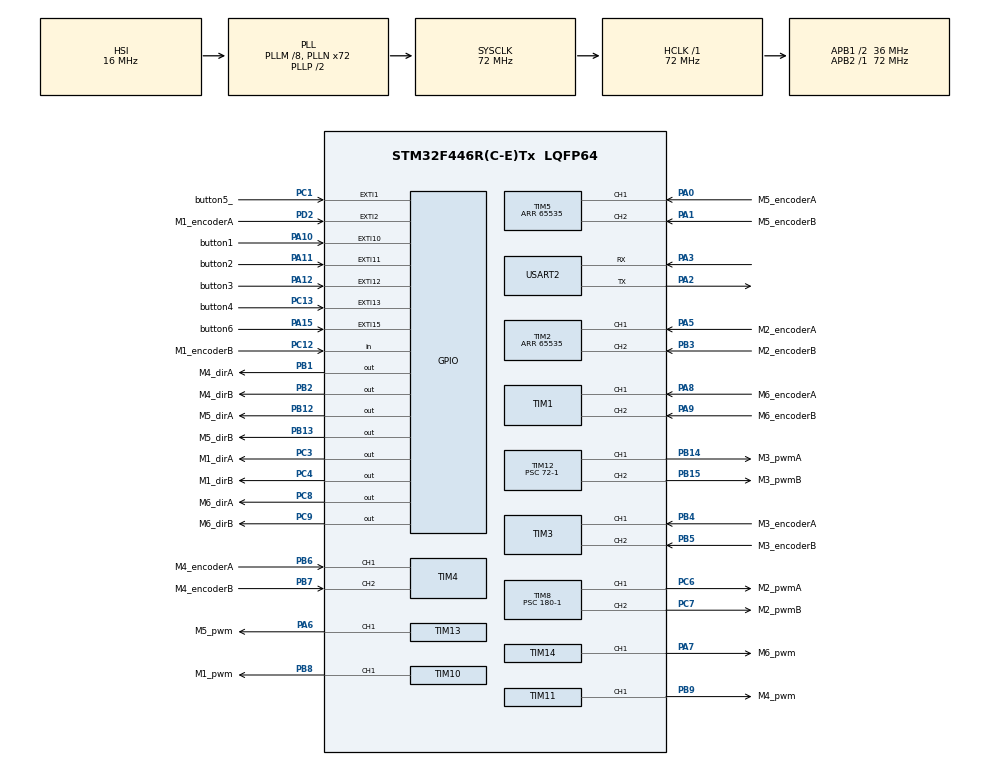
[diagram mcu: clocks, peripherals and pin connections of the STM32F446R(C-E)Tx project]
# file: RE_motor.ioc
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Dma.Request0=USART2_TX
Dma.Request1=USART2_RX
Dma.USART2_RX.1.Direction=DMA_PERIPH_TO_MEMORY
Dma.USART2_RX.1.FIFOMode=DMA_FIFOMODE_DISABLE
Dma.USART2_RX.1.Instance=DMA1_Stream5
Dma.USART2_RX.1.MemDataAlignment=DMA_MDATAALIGN_BYTE
Dma.USART2_RX.1.MemInc=DMA_MINC_ENABLE
Dma.USART2_RX.1.Mode=DMA_NORMAL
Dma.USART2_RX.1.PeriphDataAlignment=DMA_PDATAALIGN_BYTE
Dma.USART2_RX.1.PeriphInc=DMA_PINC_DISABLE
Dma.USART2_RX.1.Priority=DMA_PRIORITY_LOW
Dma.USART2_TX.0.Direction=DMA_MEMORY_TO_PERIPH
Dma.USART2_TX.0.FIFOMode=DMA_FIFOMODE_DISABLE
Dma.USART2_TX.0.Instance=DMA1_Stream6
Dma.USART2_TX.0.MemDataAlignment=DMA_MDATAALIGN_BYTE
Dma.USART2_TX.0.MemInc=DMA_MINC_ENABLE
Dma.USART2_TX.0.Mode=DMA_NORMAL
Dma.USART2_TX.0.PeriphDataAlignment=DMA_PDATAALIGN_BYTE
Dma.USART2_TX.0.PeriphInc=DMA_PINC_DISABLE
Dma.USART2_TX.0.Priority=DMA_PRIORITY_LOW
Mcu.Family=STM32F4
Mcu.Name=STM32F446R(C-E)Tx
Mcu.Package=LQFP64
NVIC.DMA1_Stream5_IRQn=true\:0\:0\:false\:false\:true\:false\:true\:true
NVIC.DMA1_Stream6_IRQn=true\:0\:0\:false\:false\:true\:false\:true\:true
NVIC.EXTI15_10_IRQn=true\:1\:0\:true\:false\:true\:true\:true\:true
NVIC.EXTI1_IRQn=true\:1\:0\:true\:false\:true\:true\:true\:true
NVIC.EXTI2_IRQn=true\:2\:0\:true\:false\:true\:true\:true\:true
NVIC.PriorityGroup=NVIC_PRIORITYGROUP_4
NVIC.TIM6_DAC_IRQn=true\:0\:0\:true\:false\:true\:true\:true\:true
NVIC.USART2_IRQn=true\:0\:0\:false\:false\:true\:true\:true\:true
PA0-WKUP.GPIO_Label=M5_encoderA
PA0-WKUP.GPIO_PuPd=GPIO_PULLUP
PA0-WKUP.Signal=S_TIM5_CH1
PA1.GPIO_Label=M5_encoderB
PA1.GPIO_PuPd=GPIO_PULLUP
PA1.Signal=S_TIM5_CH2
PA10.GPIO_Label=button1
PA10.GPIO_ModeDefaultEXTI=GPIO_MODE_IT_FALLING
PA10.GPIO_PuPd=GPIO_PULLUP
PA10.Signal=GPXTI10
PA11.GPIO_Label=button2
PA11.GPIO_ModeDefaultEXTI=GPIO_MODE_IT_FALLING
PA11.GPIO_PuPd=GPIO_PULLUP
PA11.Signal=GPXTI11
PA12.GPIO_Label=button3
PA12.GPIO_ModeDefaultEXTI=GPIO_MODE_IT_FALLING
PA12.GPIO_PuPd=GPIO_PULLUP
PA12.Signal=GPXTI12
PA13.Mode=Serial_Wire
PA13.Signal=SYS_JTMS-SWDIO
PA14.Mode=Serial_Wire
PA14.Signal=SYS_JTCK-SWCLK
PA15.GPIO_Label=button6
PA15.GPIO_ModeDefaultEXTI=GPIO_MODE_IT_FALLING
PA15.GPIO_PuPd=GPIO_PULLUP
PA15.Signal=GPXTI15
PA2.Mode=Asynchronous
PA2.Signal=USART2_TX
PA3.Mode=Asynchronous
PA3.Signal=USART2_RX
PA5.GPIO_Label=M2_encoderA
PA5.GPIO_PuPd=GPIO_PULLUP
PA5.Signal=S_TIM2_CH1_ETR
PA6.GPIO_Label=M5_pwm
PA6.Signal=S_TIM13_CH1
PA7.GPIO_Label=M6_pwm
PA7.Signal=S_TIM14_CH1
PA8.GPIO_Label=M6_encoderA
PA8.GPIO_PuPd=GPIO_PULLUP
PA8.Signal=S_TIM1_CH1
PA9.GPIO_Label=M6_encoderB
PA9.GPIO_PuPd=GPIO_PULLUP
PA9.Signal=S_TIM1_CH2
PB1.GPIO_Label=M4_dirA
PB1.GPIO_PuPd=GPIO_NOPULL
PB1.Signal=GPIO_Output
PB12.GPIO_Label=M5_dirA
PB12.GPIO_PuPd=GPIO_NOPULL
PB12.Signal=GPIO_Output
PB13.GPIO_Label=M5_dirB
PB13.GPIO_PuPd=GPIO_NOPULL
PB13.Signal=GPIO_Output
PB14.GPIO_Label=M3_pwmA
PB14.Signal=S_TIM12_CH1
PB15.GPIO_Label=M3_pwmB
PB15.Signal=S_TIM12_CH2
PB2.GPIO_Label=M4_dirB
PB2.GPIO_PuPd=GPIO_NOPULL
PB2.Signal=GPIO_Output
PB3.GPIO_Label=M2_encoderB
PB3.GPIO_PuPd=GPIO_PULLUP
PB3.Signal=S_TIM2_CH2
PB4.GPIO_Label=M3_encoderA
PB4.GPIO_PuPd=GPIO_PULLUP
PB4.Signal=S_TIM3_CH1
PB5.GPIO_Label=M3_encoderB
PB5.GPIO_PuPd=GPIO_PULLUP
PB5.Signal=S_TIM3_CH2
PB6.GPIO_Label=M4_encoderA
PB6.GPIO_PuPd=GPIO_PULLUP
PB6.Signal=S_TIM4_CH1
PB7.GPIO_Label=M4_encoderB
PB7.GPIO_PuPd=GPIO_PULLUP
PB7.Signal=S_TIM4_CH2
PB8.GPIO_Label=M1_pwm
PB8.Signal=S_TIM10_CH1
PB9.GPIO_Label=M4_pwm
PB9.Signal=S_TIM11_CH1
PC1.GPIO_Label=button5_
PC1.GPIO_ModeDefaultEXTI=GPIO_MODE_IT_FALLING
PC1.GPIO_PuPd=GPIO_PULLUP
PC1.Signal=GPXTI1
PC12.GPIO_Label=M1_encoderB
PC12.GPIO_PuPd=GPIO_PULLUP
PC12.Signal=GPIO_Input
PC13.GPIO_Label=button4
PC13.GPIO_ModeDefaultEXTI=GPIO_MODE_IT_FALLING
PC13.GPIO_PuPd=GPIO_PULLUP
PC13.Signal=GPXTI13
PC3.GPIO_Label=M1_dirA
PC3.GPIO_PuPd=GPIO_NOPULL
PC3.Signal=GPIO_Output
PC4.GPIO_Label=M1_dirB
PC4.GPIO_PuPd=GPIO_NOPULL
PC4.Signal=GPIO_Output
PC6.GPIO_Label=M2_pwmA
PC6.Signal=S_TIM8_CH1
PC7.GPIO_Label=M2_pwmB
PC7.Signal=S_TIM8_CH2
PC8.GPIO_Label=M6_dirA
PC8.GPIO_PuPd=GPIO_NOPULL
PC8.Signal=GPIO_Output
PC9.GPIO_Label=M6_dirB
PC9.GPIO_PuPd=GPIO_NOPULL
PC9.Signal=GPIO_Output
PD2.GPIO_Label=M1_encoderA
PD2.GPIO_ModeDefaultEXTI=GPIO_MODE_IT_RISING_FALLING
PD2.GPIO_PuPd=GPIO_PULLUP
PD2.Signal=GPXTI2
PH0-OSC_IN.Mode=HSE-External-Oscillator
PH0-OSC_IN.Signal=RCC_OSC_IN
PH1-OSC_OUT.Mode=HSE-External-Oscillator
PH1-OSC_OUT.Signal=RCC_OSC_OUT
ProjectManager.HeapSize=0x200
ProjectManager.StackSize=0x400
ProjectManager.TargetToolchain=STM32CubeIDE
RCC.AHBFreq_Value=72000000
RCC.APB1CLKDivider=RCC_HCLK_DIV2
RCC.APB1Freq_Value=36000000
RCC.APB1TimFreq_Value=72000000
RCC.APB2Freq_Value=72000000
RCC.APB2TimFreq_Value=72000000
RCC.CortexFreq_Value=72000000
RCC.HCLKFreq_Value=72000000
RCC.PLLM=8
RCC.PLLN=72
RCC.SYSCLKFreq_VALUE=72000000
RCC.SYSCLKSource=RCC_SYSCLKSOURCE_PLLCLK
RCC.USBFreq_Value=72000000
RCC.VCOOutputFreq_Value=144000000
SH.S_TIM10_CH1.0=TIM10_CH1,PWM Generation1 CH1
SH.S_TIM11_CH1.0=TIM11_CH1,PWM Generation1 CH1
SH.S_TIM12_CH1.0=TIM12_CH1,PWM Generation1 CH1
SH.S_TIM12_CH2.0=TIM12_CH2,PWM Generation2 CH2
SH.S_TIM13_CH1.0=TIM13_CH1,PWM Generation1 CH1
SH.S_TIM14_CH1.0=TIM14_CH1,PWM Generation1 CH1
SH.S_TIM1_CH1.0=TIM1_CH1,Encoder_Interface
SH.S_TIM1_CH2.0=TIM1_CH2,Encoder_Interface
SH.S_TIM2_CH1_ETR.0=TIM2_CH1,Encoder_Interface
SH.S_TIM2_CH2.0=TIM2_CH2,Encoder_Interface
SH.S_TIM3_CH1.0=TIM3_CH1,Encoder_Interface
SH.S_TIM3_CH2.0=TIM3_CH2,Encoder_Interface
SH.S_TIM4_CH1.0=TIM4_CH1,Encoder_Interface
SH.S_TIM4_CH2.0=TIM4_CH2,Encoder_Interface
SH.S_TIM5_CH1.0=TIM5_CH1,Encoder_Interface
SH.S_TIM5_CH2.0=TIM5_CH2,Encoder_Interface
SH.S_TIM8_CH1.0=TIM8_CH1,PWM Generation1 CH1
SH.S_TIM8_CH2.0=TIM8_CH2,PWM Generation2 CH2
TIM1.EncoderMode=TIM_ENCODERMODE_TI12
TIM1.IC1Filter=8
TIM1.IC2Filter=8
TIM10.Channel=TIM_CHANNEL_1
TIM10.Period=1000-1
TIM10.Prescaler=72-1
TIM10.Pulse=500-1
TIM11.Channel=TIM_CHANNEL_1
TIM11.Period=1000-1
TIM11.Prescaler=72-1
TIM11.Pulse=500-1
TIM12.Channel-PWM\ Generation1\ CH1=TIM_CHANNEL_1
TIM12.Channel-PWM\ Generation2\ CH2=TIM_CHANNEL_2
TIM12.Period=1000-1
TIM12.Prescaler=72-1
TIM12.Pulse-PWM\ Generation1\ CH1=500-1
TIM12.Pulse-PWM\ Generation2\ CH2=500-1
TIM13.Channel=TIM_CHANNEL_1
TIM13.Period=1000-1
TIM13.Prescaler=72-1
TIM13.Pulse=500-1
TIM14.Channel=TIM_CHANNEL_1
TIM14.Period=1000-1
TIM14.Prescaler=72-1
TIM14.Pulse=500-1
TIM2.EncoderMode=TIM_ENCODERMODE_TI12
TIM2.IC1Filter=8
TIM2.IC2Filter=8
TIM2.Period=65535
TIM3.EncoderMode=TIM_ENCODERMODE_TI12
TIM3.IC1Filter=8
TIM3.IC2Filter=8
TIM4.EncoderMode=TIM_ENCODERMODE_TI12
TIM4.IC1Filter=8
TIM4.IC2Filter=8
TIM5.EncoderMode=TIM_ENCODERMODE_TI12
TIM5.IC1Filter=8
TIM5.IC2Filter=0
TIM5.Period=65535
TIM6.Period=10000-1
TIM6.Prescaler=72-1
TIM8.Channel-PWM\ Generation1\ CH1=TIM_CHANNEL_1
TIM8.Channel-PWM\ Generation2\ CH2=TIM_CHANNEL_2
TIM8.Period=1000-1
TIM8.Prescaler=180-1
USART2.VirtualMode=VM_ASYNC
VP_TIM10_VS_ClockSourceINT.Mode=Enable_Timer
VP_TIM11_VS_ClockSourceINT.Mode=Enable_Timer
VP_TIM12_VS_ClockSourceINT.Mode=Internal
VP_TIM13_VS_ClockSourceINT.Mode=Enable_Timer
VP_TIM14_VS_ClockSourceINT.Mode=Enable_Timer
VP_TIM6_VS_ClockSourceINT.Mode=Enable_Timer
VP_TIM7_VS_ClockSourceINT.Mode=Enable_Timer
board=custom

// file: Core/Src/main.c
/* USER CODE BEGIN Header */
/**
  ******************************************************************************
  * @file           : main.c
  * @brief          : Main program body
  ******************************************************************************
  * @attention
  *
  * Copyright (c) 2026 STMicroelectronics.
  * All rights reserved.
  *
  * This software is licensed under terms that can be found in the LICENSE file
  * in the root directory of this software component.
  * If no LICENSE file comes with this software, it is provided AS-IS.
  *
  ******************************************************************************
  */
/* USER CODE END Header */
#include "main.h"
#include "dma.h"
#include "tim.h"
#include "usart.h"
#include "gpio.h"

/* USER CODE BEGIN Includes */
#include "stdio.h"
#include "stdlib.h"
#include "math.h"
#include "joint.h"
#include "string.h"
/* USER CODE END Includes */

/* USER CODE BEGIN PD */
#define t 0.01f  // t = 0.01

#define RX_BUF_SIZE 128
#define TX_BUF_SIZE 256

//#define TIMEOUT_MS 500
/* USER CODE END PD */

/* USER CODE BEGIN PV */
volatile float time = 0;

//volatile uint16_t rx_index = 0;      // 目前寫入到第幾個字元
//uint8_t rx_data;              // 每次中斷接收的單個字元
uint8_t rx_buf[RX_BUF_SIZE];  // 存放一整行字串的陣列
uint8_t tx_buf[TX_BUF_SIZE];
int gripper_status = 0;
// 計時器變數

/* USER CODE END PV */

void SystemClock_Config(void);
/* USER CODE BEGIN PFP */

void Send_Status_To_Pi(void)
{
    // 檢查 UART 是否處於就緒狀態，這是 DMA 發送的必要保護機制，避免覆寫正在傳送的緩衝區
    if (huart2.gState == HAL_UART_STATE_READY)
    {
        // 打包格式：
        // #速度x6, 位置x6, 夾爪狀態x1, 校正(限位)旗標x6 \n
        sprintf((char*)tx_buf, "#%.2f,%.2f,%.2f,%.2f,%.2f,%.2f,%.2f,%.2f,%.2f,%.2f,%.2f,%.2f,%d,%d,%d,%d,%d,%d,%d\n",
                joint[0].omega, joint[1].omega, joint[2].omega,
                joint[3].omega, joint[4].omega, joint[5].omega,  // 6 個速度
                joint[0].theta, joint[1].theta, joint[2].theta,
                joint[3].theta, joint[4].theta, joint[5].theta,  // 6 個位置
                gripper_status,                                  // 1 個夾爪狀態
                joint[0].calibration, joint[1].calibration, joint[2].calibration,
                joint[3].calibration, joint[4].calibration, joint[5].calibration); // 6 個限位/校正旗標

        // 使用 DMA 發送
        HAL_UART_Transmit_DMA(&huart2, tx_buf, strlen((char*)tx_buf));
    }
}

/* USER CODE END PFP */

int main(void)
{

  /* MCU Configuration--------------------------------------------------------*/

  /* Reset of all peripherals, Initializes the Flash interface and the Systick. */
  HAL_Init();

  /* Configure the system clock */
  SystemClock_Config();

  /* Initialize all configured peripherals */
  MX_GPIO_Init();
  MX_DMA_Init();
  MX_TIM1_Init();
  MX_TIM2_Init();
  MX_TIM3_Init();
  MX_TIM4_Init();
  MX_TIM5_Init();
  MX_TIM8_Init();
  MX_TIM10_Init();
  MX_TIM11_Init();
  MX_TIM12_Init();
  MX_TIM13_Init();
  MX_TIM14_Init();
  MX_TIM6_Init();
  MX_TIM7_Init();
  MX_USART2_UART_Init();
  /* USER CODE BEGIN 2 */
  joint_config();
  HAL_TIM_Base_Start_IT(&htim6);
//  HAL_UART_Receive_IT(&huart2, &rx_data, 1);
  HAL_UARTEx_ReceiveToIdle_DMA(&huart2, rx_buf, RX_BUF_SIZE);
  /* USER CODE END 2 */

  /* Infinite loop */
  while (1)
  {

  }
}

void SystemClock_Config(void)
{
  RCC_OscInitTypeDef RCC_OscInitStruct = {0};
  RCC_ClkInitTypeDef RCC_ClkInitStruct = {0};

  /** Configure the main internal regulator output voltage
  */
  __HAL_RCC_PWR_CLK_ENABLE();
  __HAL_PWR_VOLTAGESCALING_CONFIG(PWR_REGULATOR_VOLTAGE_SCALE3);

  /** Initializes the RCC Oscillators according to the specified parameters
  * in the RCC_OscInitTypeDef structure.
  */
  RCC_OscInitStruct.OscillatorType = RCC_OSCILLATORTYPE_HSI;
  RCC_OscInitStruct.HSIState = RCC_HSI_ON;
  RCC_OscInitStruct.HSICalibrationValue = RCC_HSICALIBRATION_DEFAULT;
  RCC_OscInitStruct.PLL.PLLState = RCC_PLL_ON;
  RCC_OscInitStruct.PLL.PLLSource = RCC_PLLSOURCE_HSI;
  RCC_OscInitStruct.PLL.PLLM = 8;
  RCC_OscInitStruct.PLL.PLLN = 72;
  RCC_OscInitStruct.PLL.PLLP = RCC_PLLP_DIV2;
  RCC_OscInitStruct.PLL.PLLQ = 2;
  RCC_OscInitStruct.PLL.PLLR = 2;
  if (HAL_RCC_OscConfig(&RCC_OscInitStruct) != HAL_OK)
  {
    Error_Handler();
  }

  /** Initializes the CPU, AHB and APB buses clocks
  */
  RCC_ClkInitStruct.ClockType = RCC_CLOCKTYPE_HCLK|RCC_CLOCKTYPE_SYSCLK
                              |RCC_CLOCKTYPE_PCLK1|RCC_CLOCKTYPE_PCLK2;
  RCC_ClkInitStruct.SYSCLKSource = RCC_SYSCLKSOURCE_PLLCLK;
  RCC_ClkInitStruct.AHBCLKDivider = RCC_SYSCLK_DIV1;
  RCC_ClkInitStruct.APB1CLKDivider = RCC_HCLK_DIV2;
  RCC_ClkInitStruct.APB2CLKDivider = RCC_HCLK_DIV1;

  if (HAL_RCC_ClockConfig(&RCC_ClkInitStruct, FLASH_LATENCY_2) != HAL_OK)
  {
    Error_Handler();
  }
}

/* USER CODE BEGIN 4 */
void HAL_TIM_PeriodElapsedCallback(TIM_HandleTypeDef *htim)
{
	if(htim->Instance == TIM6){
		for(int i=0; i<=5; i++)Joint_Update(&joint[i], t);
		time += t;
	}
}

void HAL_GPIO_EXTI_Callback(uint16_t GPIO_Pin)
{
    // GPIO Encoder A
    if (GPIO_Pin == joint[0].enc.hw.gpio.pinA)
    {
        // 讀取A相與B相
        GPIO_PinState stateA = HAL_GPIO_ReadPin(joint[0].enc.hw.gpio.portA, joint[0].enc.hw.gpio.pinA);
        GPIO_PinState stateB = HAL_GPIO_ReadPin(joint[0].enc.hw.gpio.portB, joint[0].enc.hw.gpio.pinB);

        // 判斷正反轉
        if (stateA == stateB) {
        	joint[0].enc.hw.gpio.counter++;
        } else {
        	joint[0].enc.hw.gpio.counter--;
        }
    }
    //限位開關觸發
    if (GPIO_Pin == GPIO_PIN_10){
    	joint[0].calibration = 1;
    	joint[0].theta = 0;
    }
    if (GPIO_Pin == GPIO_PIN_11){
    	joint[1].calibration = 1;
    	joint[1].theta = 0;
    }
    if (GPIO_Pin == GPIO_PIN_12){
    	joint[2].calibration = 1;
    	joint[2].theta = 0;
    }
    if (GPIO_Pin == GPIO_PIN_13){
    	joint[3].calibration = 1;
    	joint[3].theta = 0;
    }
    if (GPIO_Pin == GPIO_PIN_1){
    	joint[4].calibration = 1;
    	joint[4].theta = 0;
    }
    if (GPIO_Pin == GPIO_PIN_15){
    	joint[5].calibration = 1;
    	joint[5].theta = 0;
    }
}

//void HAL_UART_RxCpltCallback(UART_HandleTypeDef *huart)
//{
//    if(huart->Instance == USART2)
//    {
//        // 情況 A：還沒收到換行字元 ('\n')
//        if(rx_data != '\n')
//        {
//            // 確保 rx_index 不會超過陣列大小，預留 1 格給 '\0'
//            if(rx_index < RX_BUF_SIZE - 1)
//            {
//                rx_buf[rx_index++] = rx_data;
//            }
//            // 如果超過了，就直接丟棄後面的字元，直到收到換行為止
//        }
//        // 情況 B：收到換行字元 ('\n')，代表一整包結束
//        else
//        {
//            rx_buf[rx_index] = '\0'; // 補上字串結尾符號
//            int parsed_count = sscanf((char*)rx_buf,
//                                      "$%f,%f,%f,%f,%f,%f,%d",
//                                      &joint[0].omega_ref, &joint[1].omega_ref, &joint[2].omega_ref,
//                                      &joint[3].omega_ref, &joint[4].omega_ref, &joint[5].omega_ref,
//                                      &gripper_status);
//
//            if (parsed_count == 7) {
//                last_rx_time = HAL_GetTick(); // 只有確認收到完整的 7 個數值，才重置斷線計時器
//                Send_Status_To_Pi();
//            }
//
//            rx_index = 0; // 歸零，準備接收下一包
//        }
//        // 重新開啟單字元中斷接收
//        HAL_UART_Receive_IT(&huart2, &rx_data, 1);
//    }
//}
void HAL_UARTEx_RxEventCallback(UART_HandleTypeDef *huart, uint16_t Size)
{
    if (huart->Instance == USART2)
    {
        // Size 是 DMA 實際收到的位元組數量 (例如收到 45 個字元，Size 就是 45)
        // 直接在陣列尾端補上 '\0'，這樣 sscanf 才知道字串到哪裡結束
        rx_buf[Size] = '\0';

        // 解析字串
        int parsed_count = sscanf((char*)rx_buf,
                                  "$%f,%f,%f,%f,%f,%f,%d",
                                  &joint[0].omega_ref, &joint[1].omega_ref, &joint[2].omega_ref,
                                  &joint[3].omega_ref, &joint[4].omega_ref, &joint[5].omega_ref,
                                  &gripper_status);

        if (parsed_count == 7) {
            Send_Status_To_Pi();          // 觸發 DMA 發送狀態回樹莓派
        }

        // ★ 重要：處理完畢後，必須重新啟動 DMA 來接收下一包資料
        HAL_UARTEx_ReceiveToIdle_DMA(&huart2, rx_buf, RX_BUF_SIZE);
    }
}

void HAL_UART_ErrorCallback(UART_HandleTypeDef *huart)
{
    if (huart->Instance == USART2)
    {
        // 直接重新啟動接收中斷
//        HAL_UART_Receive_IT(&huart2, &rx_data, 1);
        HAL_UART_DMAStop(&huart2);
		HAL_UARTEx_ReceiveToIdle_DMA(&huart2, rx_buf, RX_BUF_SIZE);
    }
}
/* USER CODE END 4 */

void Error_Handler(void)
{
  __disable_irq();
  while (1)
  {
  }
}
